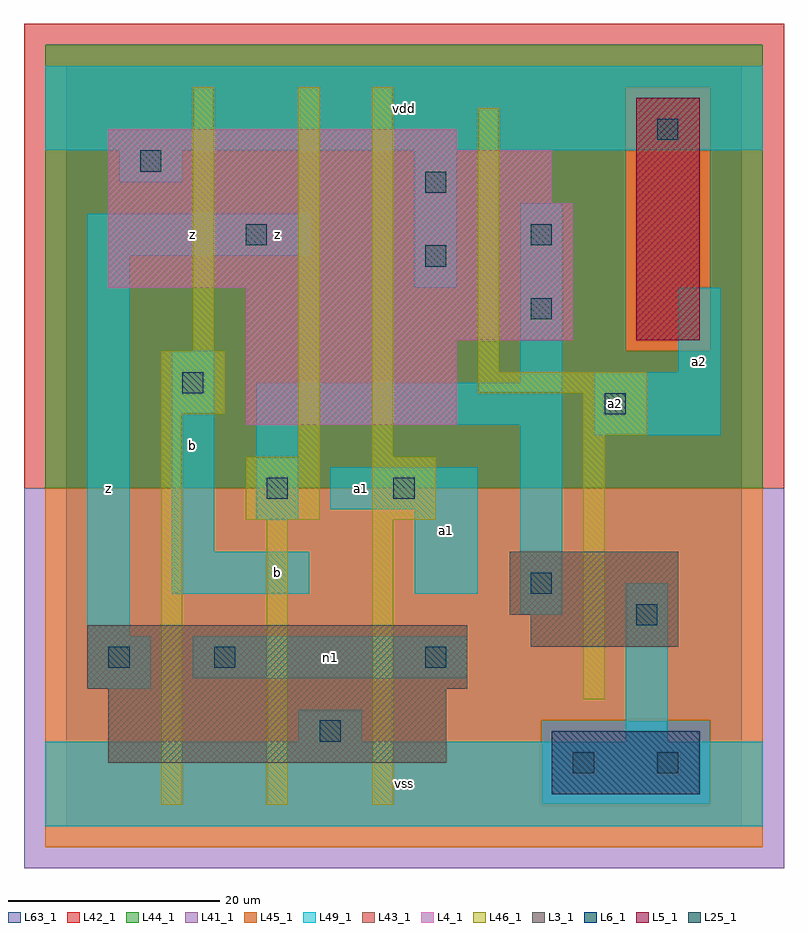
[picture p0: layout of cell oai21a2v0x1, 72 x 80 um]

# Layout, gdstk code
import gdstk
lib = gdstk.Library(unit=1e-6, precision=1e-09)
def R(c, l, rs):  # rectangles x0, y0, x1, y1
    for r in rs: c.add(gdstk.rectangle(r[:2], r[2:], *l))
L3_1 = (3, 1)
L4_1 = (4, 1)
L5_1 = (5, 1)
L6_1 = (6, 1)
L25_1 = (25, 1)
L41_1 = (41, 1)
L42_1 = (42, 1)
L43_1 = (43, 1)
L44_1 = (44, 1)
L45_1 = (45, 1)
L46_1 = (46, 1)
L49_1 = (49, 1)
L63_1 = (63, 1)

oai21a2v0x1 = lib.new_cell('oai21a2v0x1')
R(oai21a2v0x1, L3_1, [(4,6,36,13), (2,13,38,19), (44,17,58,20), (42,20,58,26)])
R(oai21a2v0x1, L4_1, [(17,38,37,46), (17,46,48,51), (4,51,48,59), (4,59,46,64), (4,64,37,66)])
R(oai21a2v0x1, L5_1, [(54,46,60,69)])
R(oai21a2v0x1, L6_1, [(46,3,60,9), (46,3,60,9)])
R(oai21a2v0x1, L25_1, [(48,5,50,7), (56,5,58,7), (24,8,26,10), (4,15,6,17), (14,15,16,17), (34,15,36,17), (54,19,56,21), (44,22,46,24), (19,31,21,33), (31,31,33,33), (51,39,53,41), (11,41,13,43), (44,48,46,50), (34,53,36,55), (17,55,19,57), (44,55,46,57), (34,60,36,62), (7,62,9,64), (56,65,58,67)])
R(oai21a2v0x1, L41_1, [(-4,-4,68,32)])
R(oai21a2v0x1, L42_1, [(-4,32,68,76)])
R(oai21a2v0x1, L43_1, [(46,3,60,9), (4,6,36,13), (2,13,38,19), (44,17,58,20), (42,20,58,26), (17,38,37,46), (17,46,48,51), (54,46,60,69), (4,51,48,59), (4,59,46,64), (4,64,37,66)])
R(oai21a2v0x1, L44_1, [(45,2,61,10), (-2,32,66,45), (-2,45,53,70), (61,45,66,70), (-2,70,66,74)])
R(oai21a2v0x1, L45_1, [(-2,-2,66,2), (-2,2,45,10), (61,2,66,10), (-2,10,66,32), (53,45,61,70)])
R(oai21a2v0x1, L46_1, [(9,2,11,39), (19,2,21,29), (29,2,31,29), (49,12,51,37), (17,29,24,35), (29,29,35,35), (22,35,24,70), (29,35,31,70), (49,37,55,41), (9,39,15,45), (39,41,55,43), (39,43,41,68), (12,45,14,70)])
R(oai21a2v0x1, L49_1, [(-2,0,66,8), (22,8,28,11), (53,8,57,23), (2,13,8,18), (12,14,38,18), (2,18,6,54), (43,20,47,38), (10,22,23,26), (33,22,39,30), (10,26,14,45), (18,29,22,38), (25,30,39,34), (50,37,62,43), (18,38,47,42), (43,42,47,59), (58,43,62,51), (33,51,37,64), (2,54,23,58), (5,61,11,64), (-2,64,66,72)])
R(oai21a2v0x1, L63_1, [(0,0,64,72)])
oai21a2v0x1.add(gdstk.Label('z', (4,32), layer=49, texttype=1))
oai21a2v0x1.add(gdstk.Label('b', (12,36), layer=49, texttype=1))
oai21a2v0x1.add(gdstk.Label('z', (12,56), layer=49, texttype=1))
oai21a2v0x1.add(gdstk.Label('b', (20,24), layer=49, texttype=1))
oai21a2v0x1.add(gdstk.Label('a1', (28,32), layer=49, texttype=1))
oai21a2v0x1.add(gdstk.Label('z', (20,56), layer=49, texttype=1))
oai21a2v0x1.add(gdstk.Label('vss', (32,4), layer=49, texttype=1))
oai21a2v0x1.add(gdstk.Label('n1', (25,16), layer=49, texttype=1))
oai21a2v0x1.add(gdstk.Label('a1', (36,28), layer=49, texttype=1))
oai21a2v0x1.add(gdstk.Label('vdd', (32,68), layer=49, texttype=1))
oai21a2v0x1.add(gdstk.Label('a2', (52,40), layer=49, texttype=1))
oai21a2v0x1.add(gdstk.Label('a2', (60,44), layer=49, texttype=1))

lib.write_gds('oai21a2v0x1.gds')
